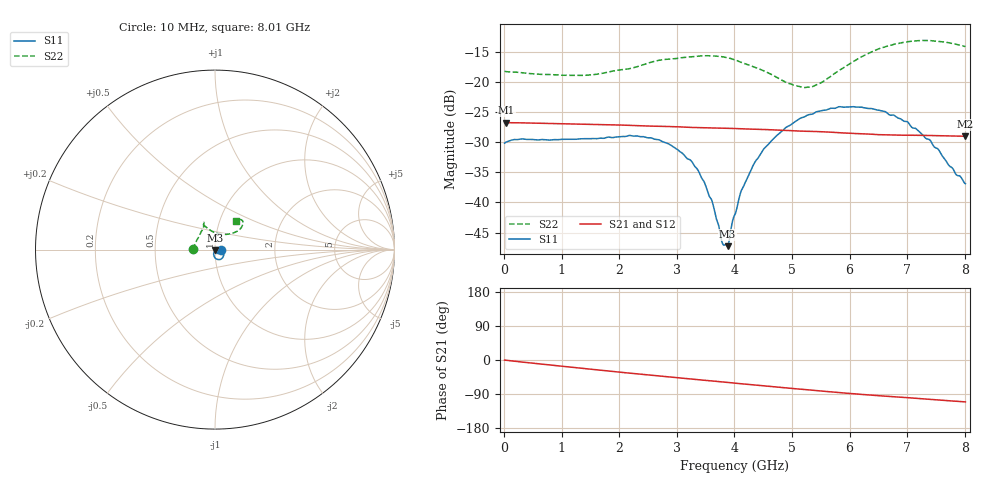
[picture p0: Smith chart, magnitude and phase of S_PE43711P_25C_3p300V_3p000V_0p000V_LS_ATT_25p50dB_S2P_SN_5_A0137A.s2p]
! Device ID: PE43711P
! File Path: z:\PE43711P\CHAR_NOM_04282014\AMB\3p300\LS_ATT_25p50dB\PE43711P_AMB_3p300V_3p000V_0p000V_LS_ATT_25p50dB_S2P_SN_5_A0137A.s2p
! Serial: 5
! Lot: A0137A
! Temp: 25C
! VDD: 3.300
! VSS: 0.000
! Control_Hi: 3.000
! Control_Lo: 0.000
! Attenuation Step: 25.50dB
! Port 1: RF1
! Port 2: RF2
! ThroughPath:1-2
! IDD: 0.0001276181
! ISS: -1.37e-007
#  Hz  S  RI  R  50
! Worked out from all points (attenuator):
!   801 points, 10 MHz to 8.01 GHz, reference 50 ohm
!   highest |S21| = -26.73 dB at 40 MHz (marker M1); lowest = -29.0 dB at 8.01 GHz (marker M2)
!   lowest |S11| = -47.3 dB at 3.88 GHz (marker M3), VSWR 1.01, Z = 50.2 - j0.397 ohm
!   |S11| at or under -10 dB: start of sweep to end of sweep
!   |S22| runs from -20.9 to -13.1 dB; largest |S21 - S12| = 0.00012
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1e7  0.0311 0.000437  0.0461 -0.000153  0.0461 -0.000193  -0.123 0.000932
4e7  0.0318 0.000743  0.0461 -0.000563  0.0461 -0.000577  -0.1223 0.00268
1.35e9  0.0338 -0.00118  0.0416 -0.0167  0.0417 -0.0167  -0.0956 0.0614
2.19e9  0.036 0.00116  0.0359 -0.025  0.0359 -0.025  -0.07 0.1095
2.68e9  0.0329 0.00445  0.032 -0.0287  0.032 -0.0287  -0.0637 0.1378
3.06e9  0.0257 0.00573  0.0286 -0.0314  0.0286 -0.0314  -0.062 0.1469
3.35e9  0.0185 0.00472  0.0259 -0.0329  0.026 -0.0329  -0.0623 0.1518
3.61e9  0.0102 0.00121  0.0237 -0.0342  0.0237 -0.0342  -0.0647 0.152
3.79e9  0.00411 -0.00206  0.0221 -0.0351  0.0221 -0.0351  -0.0659 0.1488
3.84e9  0.00298 -0.00332  0.0216 -0.0354  0.0216 -0.0354  -0.0659 0.1468
3.88e9  0.00175 -0.00396  0.0212 -0.0356  0.0212 -0.0355  -0.0654 0.1454
4.01e9  -0.00137 -0.00784  0.0199 -0.0361  0.0199 -0.0361  -0.0637 0.1393
4.15e9  -0.004 -0.0128  0.0185 -0.0365  0.0185 -0.0366  -0.0581 0.1323
4.34e9  -0.00705 -0.0198  0.0167 -0.0371  0.0167 -0.0371  -0.049 0.1244
4.51e9  -0.00742 -0.0269  0.015 -0.0375  0.015 -0.0375  -0.0397 0.1176
4.9e9  -0.00287 -0.0421  0.0112 -0.0381  0.0111 -0.0381  -0.0112 0.0989
5.35e9  0.0103 -0.0532  0.00699 -0.0383  0.00699 -0.0383  0.034 0.0851
6.04e9  0.0374 -0.0501  0.000812 -0.0376  0.000779 -0.0376  0.1104 0.0957
6.68e9  0.0474 -0.0256  -0.00376 -0.0362  -0.00371 -0.0362  0.1518 0.1323
7e9  0.0447 -0.0141  -0.00585 -0.0358  -0.00583 -0.0358  0.1566 0.1494
7.39e9  0.033 -0.00285  -0.00868 -0.0349  -0.00862 -0.035  0.1474 0.1658
8.01e9  0.0142 -0.00151  -0.0125 -0.0333  -0.0125 -0.0333  0.1187 0.1578
